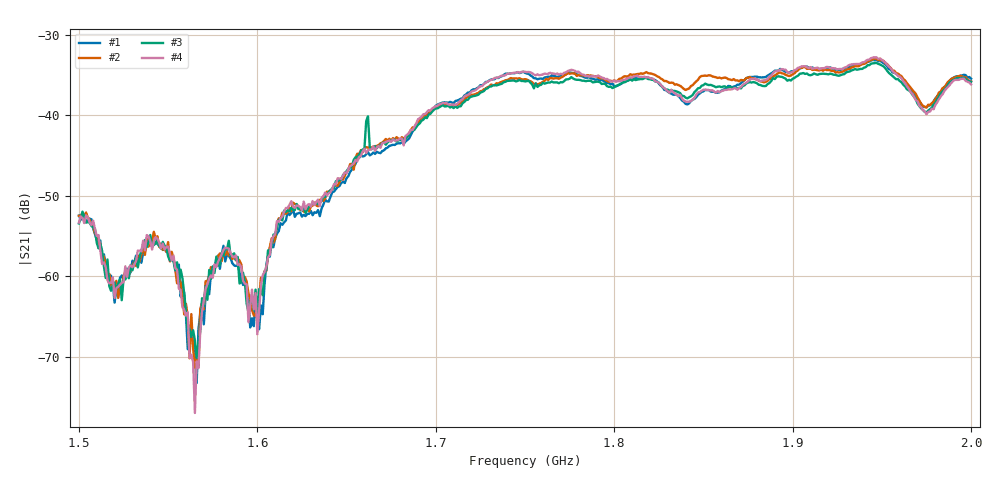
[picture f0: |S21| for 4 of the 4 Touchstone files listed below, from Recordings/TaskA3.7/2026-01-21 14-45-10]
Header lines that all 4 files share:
! NanoVNA-App by SYSJOINT et al v1.1.209 (+OD18)
! Start: 1,5GHz Stop: 2GHz Points: 501
! S-Parameter data: F S11 S21 S12 S22
# Hz S RI R 50
!  Frequency  S11_Real  S11_Imag  S21_Real  S21_Imag  S12_Real  S12_Imag  S22_Real  S22_Imag
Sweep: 1.5 GHz to 2 GHz
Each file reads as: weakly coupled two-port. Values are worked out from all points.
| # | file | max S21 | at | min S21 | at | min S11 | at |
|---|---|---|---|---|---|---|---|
| 1 | 0.s2p | -33.10 dB | 1.947 GHz | -73.3 dB | 1.566 GHz | -29.7 dB | 1.817 GHz |
| 2 | 1.s2p | -32.88 dB | 1.946 GHz | -71.4 dB | 1.565 GHz | -30.6 dB | 1.817 GHz |
| 3 | 2.s2p | -33.49 dB | 1.947 GHz | -70.2 dB | 1.566 GHz | -29.8 dB | 1.816 GHz |
| 4 | 3.s2p | -32.80 dB | 1.946 GHz | -77.0 dB | 1.565 GHz | -29.3 dB | 1.816 GHz |
